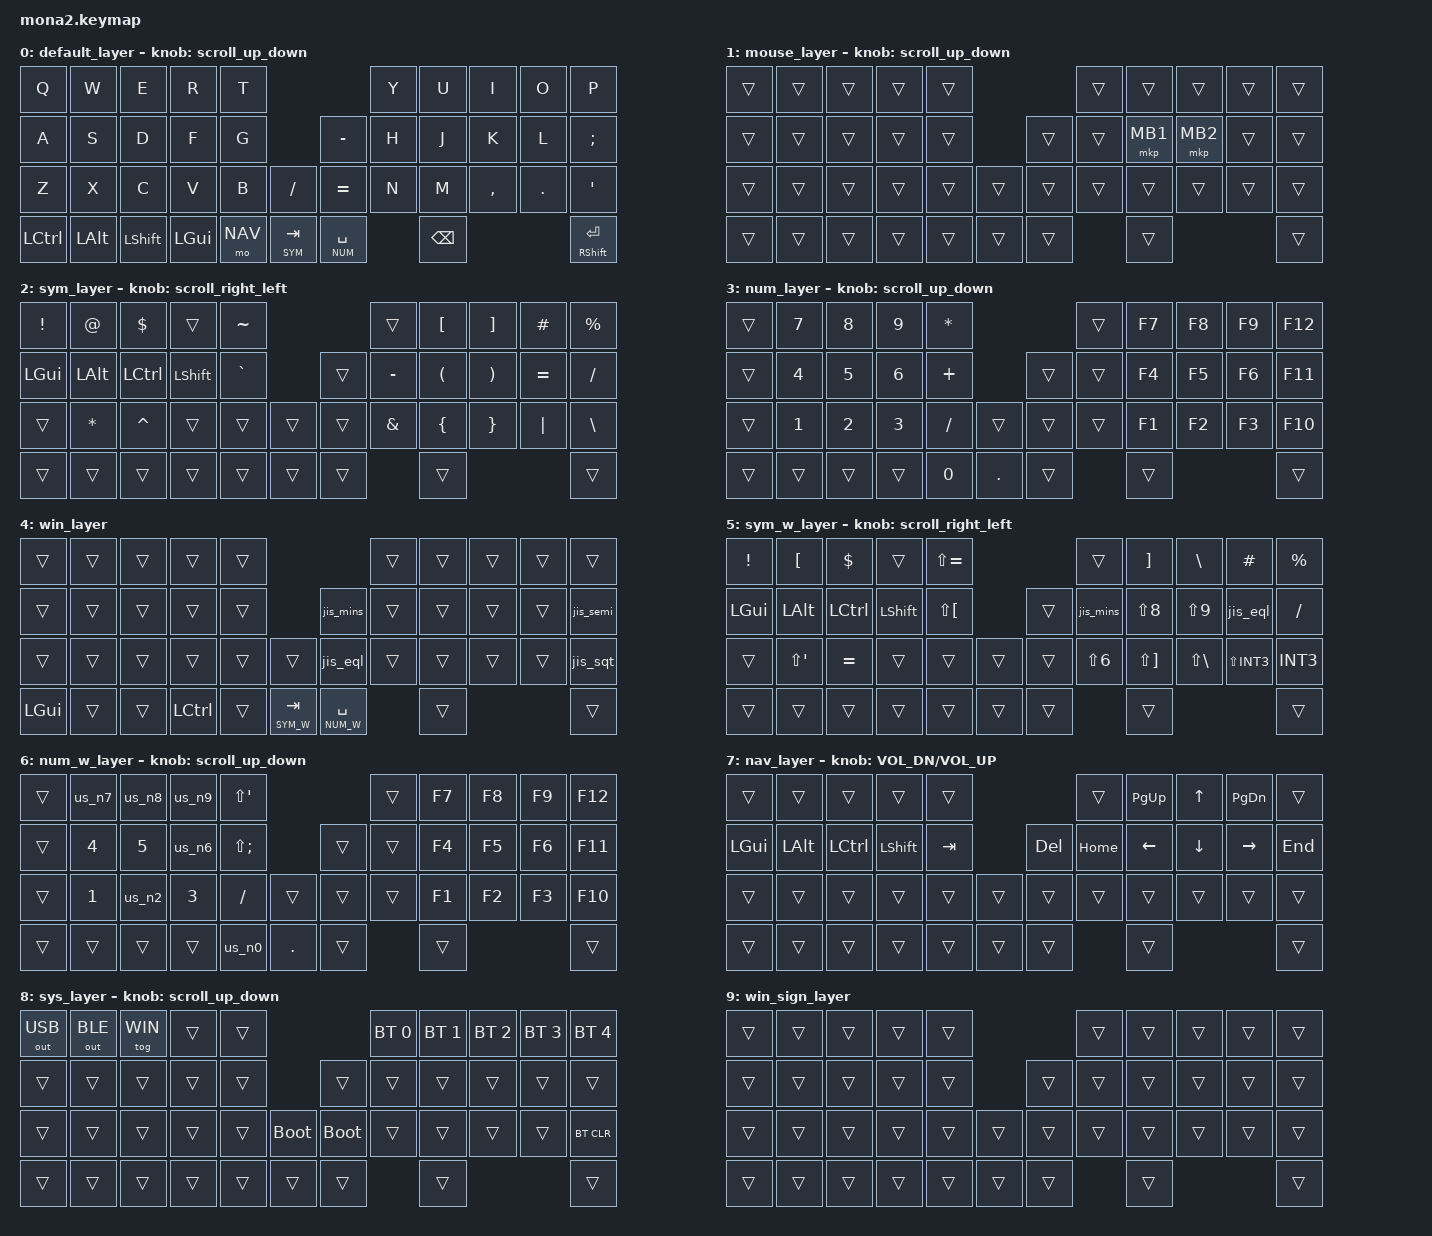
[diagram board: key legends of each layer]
#include <input/processors.dtsi>
#include <dt-bindings/zmk/input_transform.h>
#include <zephyr/dt-bindings/input/input-event-codes.h>
#include <behaviors.dtsi>
#include <dt-bindings/zmk/bt.h>
#include <dt-bindings/zmk/keys.h>
#include <dt-bindings/zmk/outputs.h>
#include <dt-bindings/zmk/pointing.h>

#define ZMK_POINTING_DEFAULT_SCRL_VAL 100

// レイヤー番号（番号が大きいレイヤが勝つ。MOUSE は一番下にして、押して出すレイヤに負けるようにする）
#define BASE  0
#define MOUSE 1   // ボールを動かすと自動で入る（mona2_r.overlay の zip_temp_layer が layer 1 を指す）。J/K・左親指修飾キー以外を押すか、英語/日本語コンボで抜ける
#define SYM   2   // Tab長押し
#define NUM   3   // Spc長押し
#define WIN   4   // Windows モード（SYS 層の E でトグル。電源再投入で OFF に戻る）。JIS 設定の Windows に繋いでも US 配列と同じ文字が出るようにする層。
                  // 親指列の Ctrl と Win(Cmd) を入れ替え、基本層の記号を JIS 用に上書きし、Tab/Spc 長押しの行き先を SYM_W/NUM_W に変える。IME は 英数/ひらがな キーで切替。
                  // MOUSE より上にあるので、ON の間はコンボの判定層が WIN になる（layers = <WIN> のコンボが発火する）
#define SYM_W 5   // Windows モード中の記号層（WIN 層の Tab 長押し）。配置は SYM と同じで、中身が JIS 用のキー
#define NUM_W 6   // Windows モード中の数字層（WIN 層の Spc 長押し）。配置は NUM と同じで、記号と Shift+数字が JIS 用
#define NAV   7   // 左手真ん中の親指（レイヤ専用）。押している間ボールがスクロールになる（mona2_r.overlay の scroller が layer 7 を見ている）
                  // WIN 層が基本層の - と ; を上書きするので、Delete / End が隠れないよう WIN より上に置く
#define SYS   8   // Tab+Spc 同時長押し。BT_CLR が WIN 層の ' に隠れないよう WIN より上に置く
#define WIN_SIGN 9 // LED 用の空の層。WIN と SYS が両方 ON のときだけ自動で入る（Tab+Spc 長押し中に Windows モードなら青く光る）

// Shift（左右どちらでも）で送るキーを変える mod-morph 用
#define SHIFTS (MOD_LSFT|MOD_RSFT)

&mt {
    flavor = "balanced";
    quick-tap-ms = <0>;
};

&lt {
    quick-tap-ms = <150>;
    flavor = "balanced";
};

// オートマウスレイヤ：
// - 最後のキー入力から200ms以内のボール移動では入らない（文字入力中の誤発火防止）
// - excluded-positions に無いキーを押したら自動で抜ける（J/K=クリック と 左親指の Ctrl/Alt/Shift/Cmd は除外。修飾キー+クリックができるように）
//   ※ excluded-positions が空だとキー押下による解除自体が無効になるので、必ず1つ以上入れておくこと
&zip_temp_layer {
    require-prior-idle-ms = <200>;
    excluded-positions = <17 18 33 34 35 36>;
};

/ {
    // WIN と SYS が両方 ON の間だけ WIN_SIGN 層を出す（LED の色を付けるためだけの層）
    conditional_layers {
        compatible = "zmk,conditional-layers";

        win_sign {
            if-layers = <WIN SYS>;
            then-layer = <WIN_SIGN>;
        };
    };

    combos {
        compatible = "zmk,combos";

        // コンボは「一番上のアクティブ層」で判定されるので、Mac 用は BASE/MOUSE、Windows 用は WIN を指定する

        // F + D 同時押しで英語（Mac: 英数 INT5）+ マウスレイヤ終了
        ime_en {
            bindings = <&ime_en_exit>;
            key-positions = <12 13>;
            layers = <BASE MOUSE>;
            timeout-ms = <50>;
            require-prior-idle-ms = <100>;
        };

        // J + K 同時押しで日本語（Mac: かな INT4）+ マウスレイヤ終了
        ime_ja {
            bindings = <&ime_ja_exit>;
            key-positions = <17 18>;
            layers = <BASE MOUSE>;
            timeout-ms = <50>;
            require-prior-idle-ms = <100>;
        };

        // F + D 同時押しで英語（Windows JIS: 英数キー → 半角英数モード）+ マウスレイヤ終了
        ime_en_win {
            bindings = <&ime_en_win>;
            key-positions = <12 13>;
            layers = <WIN>;
            timeout-ms = <50>;
            require-prior-idle-ms = <100>;
        };

        // J + K 同時押しで日本語（Windows JIS: カタカナひらがなキー → ひらがな入力で IME オン）+ マウスレイヤ終了
        ime_ja_win {
            bindings = <&ime_ja_win>;
            key-positions = <17 18>;
            layers = <WIN>;
            timeout-ms = <50>;
            require-prior-idle-ms = <100>;
        };

        // Tab + Spc 同時押し：タップでEsc、長押しで設定レイヤー
        combo_esc_sys {
            bindings = <&lt SYS ESC>;
            key-positions = <38 39>;
        };
    };

    macros {
        // マウスレイヤを抜けるのは &tog_off（OFF にするだけ）。&tog だと MOUSE が OFF のとき逆に ON になってしまう

        // 英語にしてマウスレイヤを抜ける（Mac）
        ime_en_exit: ime_en_exit {
            compatible = "zmk,behavior-macro";
            #binding-cells = <0>;
            bindings = <&kp INT5>, <&tog_off MOUSE>;
        };

        // 日本語にしてマウスレイヤを抜ける（Mac）
        ime_ja_exit: ime_ja_exit {
            compatible = "zmk,behavior-macro";
            #binding-cells = <0>;
            bindings = <&kp INT4>, <&tog_off MOUSE>;
        };

        // 英語にしてマウスレイヤを抜ける（Windows JIS: 英数キー）
        ime_en_win: ime_en_win {
            compatible = "zmk,behavior-macro";
            #binding-cells = <0>;
            bindings = <&kp CAPS>, <&tog_off MOUSE>;
        };

        // 日本語にしてマウスレイヤを抜ける（Windows JIS: カタカナひらがなキー）
        ime_ja_win: ime_ja_win {
            compatible = "zmk,behavior-macro";
            #binding-cells = <0>;
            bindings = <&kp INT2>, <&tog_off MOUSE>;
        };
    };

    behaviors {
        // レイヤを OFF にするだけのトグル（マウスレイヤ終了用）
        tog_off: tog_off {
            compatible = "zmk,behavior-toggle-layer";
            #binding-cells = <1>;
            toggle-mode = "off";
        };

        // Spc用のレイヤータップ：速く打っている最中は必ずスペースになる
        lt_spc: lt_spc {
            compatible = "zmk,behavior-hold-tap";
            #binding-cells = <2>;
            flavor = "balanced";
            tapping-term-ms = <200>;
            quick-tap-ms = <150>;
            require-prior-idle-ms = <150>;
            bindings = <&mo>, <&kp>;
        };

        // Enter：タップでEnter、左手のキーを押して離すまで押さえていたらShift
        mt_ent: mt_ent {
            compatible = "zmk,behavior-hold-tap";
            #binding-cells = <2>;
            flavor = "balanced";
            tapping-term-ms = <200>;
            quick-tap-ms = <150>;
            bindings = <&kp>, <&kp>;
            hold-trigger-key-positions = <0 1 2 3 4 10 11 12 13 14 21 22 23 24 25 26 33 34 35 36 37 38>;
        };

        // ---- Windows(JIS) 用：Shift を押しているかで送るキーを変える ----
        // 1つ目 = そのまま押したとき、2つ目 = Shift と一緒に押したとき。
        // Shift 時は押している Shift を一旦外してから 2つ目を送る（LS(...) と書いたものは Shift 付きで送られる）
        // キー名は US 配列での名前。JIS の Windows ではコメントの文字として受け取られる

        // - と _（JIS: _ は「ろ」キー + Shift）
        jis_mins: jis_mins {
            compatible = "zmk,behavior-mod-morph";
            #binding-cells = <0>;
            bindings = <&kp MINUS>, <&kp LS(INT1)>;
            mods = <SHIFTS>;
        };

        // ; と :（JIS: : は ; の右隣のキー単体）
        jis_semi: jis_semi {
            compatible = "zmk,behavior-mod-morph";
            #binding-cells = <0>;
            bindings = <&kp SEMI>, <&kp SQT>;
            mods = <SHIFTS>;
        };

        // = と +（JIS: = は Shift+-、+ は Shift+;）
        jis_eql: jis_eql {
            compatible = "zmk,behavior-mod-morph";
            #binding-cells = <0>;
            bindings = <&kp LS(MINUS)>, <&kp LS(SEMI)>;
            mods = <SHIFTS>;
        };

        // ' と "（JIS: ' は Shift+7、" は Shift+2）
        jis_sqt: jis_sqt {
            compatible = "zmk,behavior-mod-morph";
            #binding-cells = <0>;
            bindings = <&kp LS(N7)>, <&kp LS(N2)>;
            mods = <SHIFTS>;
        };

        // 数字：Shift 時に US の記号を出す（1 3 4 5 は JIS も同じなので普通の &kp のまま）
        // 2 → @（JIS: @ キー単体）
        us_n2: us_n2 {
            compatible = "zmk,behavior-mod-morph";
            #binding-cells = <0>;
            bindings = <&kp N2>, <&kp LBKT>;
            mods = <SHIFTS>;
        };

        // 6 → ^（JIS: ^ キー単体）
        us_n6: us_n6 {
            compatible = "zmk,behavior-mod-morph";
            #binding-cells = <0>;
            bindings = <&kp N6>, <&kp EQUAL>;
            mods = <SHIFTS>;
        };

        // 7 → &（JIS: Shift+6）
        us_n7: us_n7 {
            compatible = "zmk,behavior-mod-morph";
            #binding-cells = <0>;
            bindings = <&kp N7>, <&kp LS(N6)>;
            mods = <SHIFTS>;
        };

        // 8 → *（JIS: Shift+:）
        us_n8: us_n8 {
            compatible = "zmk,behavior-mod-morph";
            #binding-cells = <0>;
            bindings = <&kp N8>, <&kp LS(SQT)>;
            mods = <SHIFTS>;
        };

        // 9 → (（JIS: Shift+8）
        us_n9: us_n9 {
            compatible = "zmk,behavior-mod-morph";
            #binding-cells = <0>;
            bindings = <&kp N9>, <&kp LS(N8)>;
            mods = <SHIFTS>;
        };

        // 0 → )（JIS: Shift+9）
        us_n0: us_n0 {
            compatible = "zmk,behavior-mod-morph";
            #binding-cells = <0>;
            bindings = <&kp N0>, <&kp LS(N9)>;
            mods = <SHIFTS>;
        };

        scroll_up_down: mouse_wheel_up_down {
            compatible = "zmk,behavior-sensor-rotate";
            #sensor-binding-cells = <0>;
            bindings = <&msc SCRL_DOWN>, <&msc SCRL_UP>;
            tap-ms = <20>;
        };

        scroll_right_left: mouse_wheel_right_left {
            compatible = "zmk,behavior-sensor-rotate";
            #sensor-binding-cells = <0>;
            bindings = <&msc SCRL_LEFT>, <&msc SCRL_RIGHT>;
            tap-ms = <20>;
        };
    };

    keymap {
        compatible = "zmk,keymap";

        // 0: 基本
        default_layer {
            bindings = <
&kp Q            &kp W     &kp E     &kp R     &kp T                                     &kp Y     &kp U     &kp I      &kp O    &kp P
&kp A            &kp S     &kp D     &kp F     &kp G                         &kp MINUS   &kp H     &kp J     &kp K      &kp L    &kp SEMI
&kp Z            &kp X     &kp C     &kp V     &kp B         &kp SLASH       &kp EQUAL   &kp N     &kp M     &kp COMMA  &kp DOT  &kp SQT
&kp LCTRL        &kp LALT  &kp LSHFT &kp LGUI  &mo NAV       &lt SYM TAB     &lt_spc NUM SPACE &kp BSPC                        &mt_ent RSHFT RET
            >;
            sensor-bindings = <&scroll_up_down>;
        };

        // 1: マウス（ボールを動かすと自動で入る）— J=左クリック, K=右クリック。J/K・左親指修飾キー以外を押すか、英語/日本語コンボで抜ける
        mouse_layer {
            bindings = <
&trans           &trans    &trans    &trans    &trans                                    &trans    &trans    &trans     &trans   &trans
&trans           &trans    &trans    &trans    &trans                        &trans      &trans    &mkp MB1  &mkp MB2   &trans   &trans
&trans           &trans    &trans    &trans    &trans        &trans          &trans      &trans    &trans    &trans     &trans   &trans
&trans           &trans    &trans    &trans    &trans        &trans          &trans      &trans                                   &trans
            >;
            sensor-bindings = <&scroll_up_down>;
        };

        // 2: 記号（Tab長押し）
        //    右手ホームローに - = / を置く（H=- / L== / ;=/）。_ と + は Tab+F（Shift）+H / +L で打てる
        //    # と \ はそれぞれ O と ' に逃がしてある。基本層の内側列の - / = はそのまま残している
        sym_layer {
            bindings = <
&kp EXCL         &kp AT    &kp DLLR  &trans    &kp TILDE                               &trans    &kp LBKT  &kp RBKT   &kp HASH &kp PRCNT
&kp LGUI         &kp LALT  &kp LCTRL &kp LSHFT &kp GRAVE                    &trans      &kp MINUS &kp LPAR  &kp RPAR   &kp EQUAL &kp SLASH
&trans           &kp STAR  &kp CARET &trans    &trans        &trans          &trans      &kp AMPS  &kp LBRC  &kp RBRC   &kp PIPE &kp BSLH
&trans           &trans    &trans    &trans    &trans        &trans          &trans      &trans                                   &trans
            >;
            sensor-bindings = <&scroll_right_left>;
        };

        // 3: 数字（左手テンキー）＋ Fキー（右手4列）（Spc長押し）
        num_layer {
            bindings = <
&trans           &kp N7    &kp N8    &kp N9    &kp STAR                                  &trans    &kp F7    &kp F8     &kp F9   &kp F12
&trans           &kp N4    &kp N5    &kp N6    &kp PLUS                      &trans      &trans    &kp F4    &kp F5     &kp F6   &kp F11
&trans           &kp N1    &kp N2    &kp N3    &kp SLASH     &trans          &trans      &trans    &kp F1    &kp F2     &kp F3   &kp F10
&trans           &trans    &trans    &trans    &kp N0        &kp DOT         &trans      &trans                                   &trans
            >;
            sensor-bindings = <&scroll_up_down>;
        };

        // 4: Windows モード（SYS 層の E でトグル）— JIS 設定の Windows で US 配列と同じ文字を出す
        //    ・親指列の Ctrl と Win(Cmd) を入れ替え
        //    ・基本層の記号 4 キー（- ; = '）を JIS 用に上書き
        //    ・Tab 長押し → SYM_W、Spc 長押し → NUM_W（SYM / NUM の JIS 版）
        //    他は全て下の層のまま。sensor-bindings は書かない（書くとエンコーダを奪ってしまう。省略すれば下の層に任される）
        win_layer {
            bindings = <
&trans           &trans    &trans    &trans    &trans                                    &trans    &trans    &trans     &trans   &trans
&trans           &trans    &trans    &trans    &trans                        &jis_mins   &trans    &trans    &trans     &trans   &jis_semi
&trans           &trans    &trans    &trans    &trans        &trans          &jis_eql    &trans    &trans    &trans     &trans   &jis_sqt
&kp LGUI         &trans    &trans    &kp LCTRL &trans        &lt SYM_W TAB   &lt_spc NUM_W SPACE &trans                        &trans
            >;
        };

        // 5: 記号・Windows 用（WIN 層の Tab 長押し）— 配置は SYM 層と全く同じ。右のコメントが「実際に出る文字」
        //    キー名は US 配列での名前なので見た目は別の記号だが、JIS の Windows が受け取ると狙った文字になる
        sym_w_layer {
            bindings = <
// !             @         $                   ~                                                   [         ]          #        %
&kp EXCL         &kp LBKT  &kp DLLR  &trans    &kp LS(EQUAL)                             &trans    &kp RBKT  &kp BSLH   &kp HASH &kp PRCNT
//                                             `                                         -(_)      (         )          =(+)     /
&kp LGUI         &kp LALT  &kp LCTRL &kp LSHFT &kp LS(LBKT)                  &trans      &jis_mins &kp LS(N8) &kp LS(N9) &jis_eql &kp SLASH
//               *         ^                                                             &         {         }          |        \(¥)
&trans           &kp LS(SQT) &kp EQUAL &trans  &trans        &trans          &trans      &kp LS(N6) &kp LS(RBKT) &kp LS(BSLH) &kp LS(INT3) &kp INT3
&trans           &trans    &trans    &trans    &trans        &trans          &trans      &trans                                   &trans
            >;
            sensor-bindings = <&scroll_right_left>;
        };

        // 6: 数字・Windows 用（WIN 層の Spc 長押し）— 配置は NUM 層と全く同じ
        //    * と + を JIS 用にし、Shift+数字で US の記号（@ ^ & * ( )）が出るようにしてある
        num_w_layer {
            bindings = <
&trans           &us_n7    &us_n8    &us_n9    &kp LS(SQT)                               &trans    &kp F7    &kp F8     &kp F9   &kp F12
&trans           &kp N4    &kp N5    &us_n6    &kp LS(SEMI)                  &trans      &trans    &kp F4    &kp F5     &kp F6   &kp F11
&trans           &kp N1    &us_n2    &kp N3    &kp SLASH     &trans          &trans      &trans    &kp F1    &kp F2     &kp F3   &kp F10
&trans           &trans    &trans    &trans    &us_n0        &kp DOT         &trans      &trans                                   &trans
            >;
            sensor-bindings = <&scroll_up_down>;
        };

        // 7: 移動（左手真ん中の親指）— この間ボールはスクロール
        //    右手は逆T字：I=↑ / J=← K=↓ L=→、両端の H/; が Home/End、↑ の両脇の U/O が PgUp/PgDn
        //    右手内側の中段（基本層の - の位置）= Delete。Backspace はそのままなので NAV+Alt(S)+Backspace の単語消しが効く
        //    G = Tab。左手ホームローの修飾キーと組み合わせてウィンドウ切り替えに使う
        //    （Windows: NAV+S+G = Alt+Tab / Mac: NAV+A+G = Cmd+Tab / 共通: NAV+D+G = Ctrl+Tab、F を足すと逆方向）
        nav_layer {
            bindings = <
&trans           &trans    &trans    &trans    &trans                                    &trans    &kp PG_UP &kp UP     &kp PG_DN &trans
&kp LGUI         &kp LALT  &kp LCTRL &kp LSHFT &kp TAB                       &kp DEL     &kp HOME  &kp LEFT  &kp DOWN   &kp RIGHT &kp END
&trans           &trans    &trans    &trans    &trans        &trans          &trans      &trans    &trans    &trans     &trans   &trans
&trans           &trans    &trans    &trans    &trans        &trans          &trans      &trans                                   &trans
            >;
            sensor-bindings = <&inc_dec_kp C_VOL_DN C_VOL_UP>;
        };

        // 8: 設定（Tab＋Spc 同時長押し）— E で Windows モード ON/OFF（ON の間は長押し中 LED が青く光る）
        sys_layer {
            bindings = <
&out OUT_USB     &out OUT_BLE &tog WIN &trans  &trans                                    &bt BT_SEL 0 &bt BT_SEL 1 &bt BT_SEL 2 &bt BT_SEL 3 &bt BT_SEL 4
&trans           &trans    &trans    &trans    &trans                        &trans      &trans    &trans    &trans     &trans   &trans
&trans           &trans    &trans    &trans    &trans        &bootloader     &bootloader &trans    &trans    &trans     &trans   &bt BT_CLR
&trans           &trans    &trans    &trans    &trans        &trans          &trans      &trans                                   &trans
            >;
            sensor-bindings = <&scroll_up_down>;
        };

        // 9: Windows モードの目印（LED 用）— WIN と SYS が両方 ON のときだけ自動で入る。キーは全部下の層のまま
        //    mona2_r.conf でこの層だけ青にしてあるので、Tab+Spc 長押し中に Windows モードなら青く光る
        //    sensor-bindings は書かない（書くとエンコーダを奪ってしまう）
        win_sign_layer {
            bindings = <
&trans           &trans    &trans    &trans    &trans                                    &trans    &trans    &trans     &trans   &trans
&trans           &trans    &trans    &trans    &trans                        &trans      &trans    &trans    &trans     &trans   &trans
&trans           &trans    &trans    &trans    &trans        &trans          &trans      &trans    &trans    &trans     &trans   &trans
&trans           &trans    &trans    &trans    &trans        &trans          &trans      &trans                                   &trans
            >;
        };
    };
};
